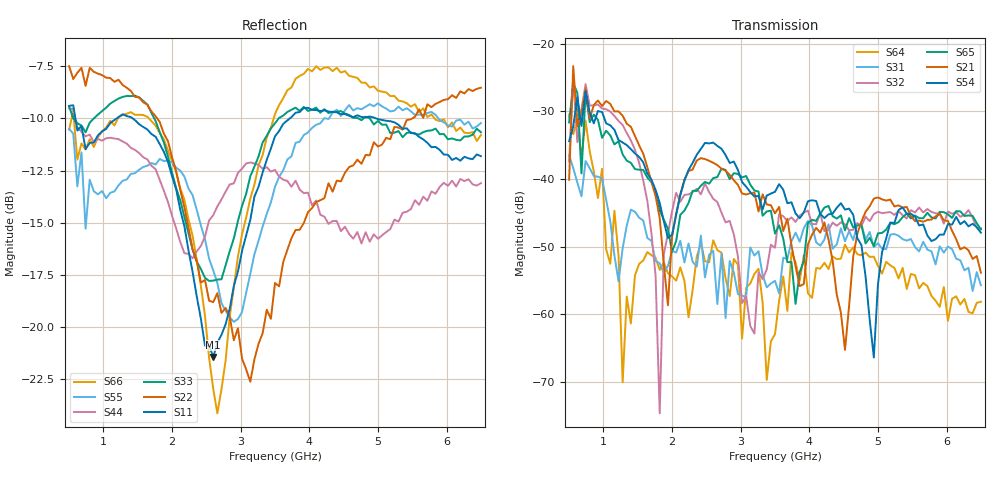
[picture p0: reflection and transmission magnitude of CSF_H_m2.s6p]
!Keysight Technologies,M9804A,MY58100912,A.14.10.03
!Date: Thursday, April 27, 2023 10:28:33
!Correction: S11(C  6-Port  )
!S12(C  6-Port  )
!S13(C  6-Port  )
!S14(C  6-Port  )
!S15(C  6-Port  )
!S16(C  6-Port  )
!S21(C  6-Port  )
!S22(C  6-Port  )
!S23(C  6-Port  )
!S24(C  6-Port  )
!S25(C  6-Port  )
!S26(C  6-Port  )
!S31(C  6-Port  )
!S32(C  6-Port  )
!S33(C  6-Port  )
!S34(C  6-Port  )
!S35(C  6-Port  )
!S36(C  6-Port  )
!S41(C  6-Port  )
!S42(C  6-Port  )
!S43(C  6-Port  )
!S44(C  6-Port  )
!S45(C  6-Port  )
!S46(C  6-Port  )
!S51(C  6-Port  )
!S52(C  6-Port  )
!S53(C  6-Port  )
!S54(C  6-Port  )
!S55(C  6-Port  )
!S56(C  6-Port  )
!S61(C  6-Port  )
!S62(C  6-Port  )
!S63(C  6-Port  )
!S64(C  6-Port  )
!S65(C  6-Port  )
!S66(C  6-Port  )
!S6P File: Measurement: :
# Hz S  RI  R 50
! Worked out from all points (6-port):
!   101 points, 500 MHz to 6.5 GHz, reference 50 ohm
!   strongest paths, dB at 500 MHz, 2 GHz, 3.5 GHz, 5 GHz, 6.5 GHz:
!     S54: -34.4, -48.2, -41.9, -55.6, -47.9
!     S21: -40.1, -48.5, -45.1, -42.7, -53.8
!     S65: -31.6, -50.7, -48.1, -48.0, -47.4
!     S32: -37.4, -44.8, -50.2, -44.8, -47.3
!     S31: -36.5, -50.6, -55.0, -49.5, -55.7
!     S64: -30.5, -54.4, -62.9, -52.8, -58.1
!   lowest |S11| = -21.5 dB at 2.6 GHz (marker M1), VSWR 1.18, Z = 42.5 + j2.14 ohm
!   |S11| at or under -10 dB: 591.4 MHz to 1.191 GHz (599.8 MHz wide, 67.3 % of centre); 1.428 GHz to 3.715 GHz (2.287 GHz wide, 88.9 % of centre); 4.975 GHz to end of sweep
